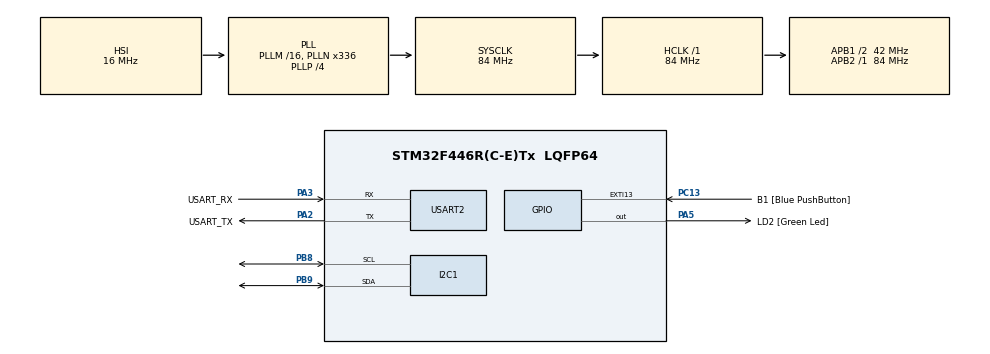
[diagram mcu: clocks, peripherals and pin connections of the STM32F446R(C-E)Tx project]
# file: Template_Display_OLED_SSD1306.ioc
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I2C1.I2C_Mode=I2C_Fast
Mcu.Family=STM32F4
Mcu.Name=STM32F446R(C-E)Tx
Mcu.Package=LQFP64
NVIC.PriorityGroup=NVIC_PRIORITYGROUP_0
PA13.GPIO_Label=TMS
PA13.Mode=Serial_Wire
PA13.Signal=SYS_JTMS-SWDIO
PA14.GPIO_Label=TCK
PA14.Mode=Serial_Wire
PA14.Signal=SYS_JTCK-SWCLK
PA2.GPIO_Label=USART_TX
PA2.Mode=Asynchronous
PA2.Signal=USART2_TX
PA3.GPIO_Label=USART_RX
PA3.Mode=Asynchronous
PA3.Signal=USART2_RX
PA5.GPIO_Label=LD2 [Green Led]
PA5.Signal=GPIO_Output
PB3.GPIO_Label=SWO
PB3.Signal=SYS_JTDO-SWO
PB8.Mode=I2C
PB8.Signal=I2C1_SCL
PB9.Mode=I2C
PB9.Signal=I2C1_SDA
PC13.GPIO_Label=B1 [Blue PushButton]
PC13.GPIO_ModeDefaultEXTI=GPIO_MODE_IT_FALLING
PC13.Signal=GPXTI13
PC14-OSC32_IN.Mode=LSE-External-Oscillator
PC14-OSC32_IN.Signal=RCC_OSC32_IN
PC15-OSC32_OUT.Mode=LSE-External-Oscillator
PC15-OSC32_OUT.Signal=RCC_OSC32_OUT
PH0-OSC_IN.Mode=HSE-External-Oscillator
PH0-OSC_IN.Signal=RCC_OSC_IN
PH1-OSC_OUT.Mode=HSE-External-Oscillator
PH1-OSC_OUT.Signal=RCC_OSC_OUT
ProjectManager.HeapSize=0x200
ProjectManager.StackSize=0x400
ProjectManager.TargetToolchain=STM32CubeIDE
RCC.48MHZClocksFreq_Value=84000000
RCC.AHBFreq_Value=84000000
RCC.APB1CLKDivider=RCC_HCLK_DIV2
RCC.APB1Freq_Value=42000000
RCC.APB1TimFreq_Value=84000000
RCC.APB2Freq_Value=84000000
RCC.APB2TimFreq_Value=84000000
RCC.CortexFreq_Value=84000000
RCC.FLatency-AdvancedSettings=FLASH_LATENCY_2
RCC.HCLKFreq_Value=84000000
RCC.HSE_VALUE=8000000
RCC.HSI_VALUE=16000000
RCC.PLLN=336
RCC.PLLP=RCC_PLLP_DIV4
RCC.SYSCLKFreq_VALUE=84000000
RCC.SYSCLKSource=RCC_SYSCLKSOURCE_PLLCLK
RCC.USBFreq_Value=168000000
RCC.VCOOutputFreq_Value=336000000
USART2.VirtualMode=VM_ASYNC
board=NUCLEO-F446RE

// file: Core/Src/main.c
/* USER CODE BEGIN Header */
/**
  ******************************************************************************
  * @file           : main.c
  * @brief          : Main program body
  ******************************************************************************
  * @attention
  *
  * Copyright (c) 2025 STMicroelectronics.
  * All rights reserved.
  *
  * This software is licensed under terms that can be found in the LICENSE file
  * in the root directory of this software component.
  * If no LICENSE file comes with this software, it is provided AS-IS.
  *
  ******************************************************************************
  */
/* USER CODE END Header */
#include "main.h"

/* USER CODE BEGIN Includes */
#include "ssd1306.h"
#include "ssd1306_fonts.h"
#include "bitmap.h"

/* USER CODE END Includes */

I2C_HandleTypeDef hi2c1;

UART_HandleTypeDef huart2;

void SystemClock_Config(void);
static void MX_GPIO_Init(void);
static void MX_USART2_UART_Init(void);
static void MX_I2C1_Init(void);

int main(void)
{

  /* USER CODE BEGIN 1 */
  char strOled[] = ">>Template OLED<<";
  /* USER CODE END 1 */

  /* MCU Configuration--------------------------------------------------------*/

  /* Reset of all peripherals, Initializes the Flash interface and the Systick. */
  HAL_Init();

  /* Configure the system clock */
  SystemClock_Config();

  /* Initialize all configured peripherals */
  MX_GPIO_Init();
  MX_USART2_UART_Init();
  MX_I2C1_Init();
  /* USER CODE BEGIN 2 */
  ssd1306_Init();
  ssd1306_SetCursor(0, 0);
  ssd1306_Fill(Black);
  ssd1306_WriteString(strOled, Font_7x10, White);
  ssd1306_UpdateScreen();

  HAL_Delay(2000);

  ssd1306_DrawBitmap(38, 10, fantasma_50x50, 50, 50, White);
  ssd1306_UpdateScreen();

  /* USER CODE END 2 */

  /* Infinite loop */
  while (1)
  {

    /* USER CODE BEGIN 3 */
  	ssd1306_InvertRectangle(0, 10, 127, 63);
  	ssd1306_UpdateScreen();
  	HAL_Delay(1000);
  }
  /* USER CODE END 3 */
}

void SystemClock_Config(void)
{
  RCC_OscInitTypeDef RCC_OscInitStruct = {0};
  RCC_ClkInitTypeDef RCC_ClkInitStruct = {0};

  /** Configure the main internal regulator output voltage
  */
  __HAL_RCC_PWR_CLK_ENABLE();
  __HAL_PWR_VOLTAGESCALING_CONFIG(PWR_REGULATOR_VOLTAGE_SCALE3);

  /** Initializes the RCC Oscillators according to the specified parameters
  * in the RCC_OscInitTypeDef structure.
  */
  RCC_OscInitStruct.OscillatorType = RCC_OSCILLATORTYPE_HSI;
  RCC_OscInitStruct.HSIState = RCC_HSI_ON;
  RCC_OscInitStruct.HSICalibrationValue = RCC_HSICALIBRATION_DEFAULT;
  RCC_OscInitStruct.PLL.PLLState = RCC_PLL_ON;
  RCC_OscInitStruct.PLL.PLLSource = RCC_PLLSOURCE_HSI;
  RCC_OscInitStruct.PLL.PLLM = 16;
  RCC_OscInitStruct.PLL.PLLN = 336;
  RCC_OscInitStruct.PLL.PLLP = RCC_PLLP_DIV4;
  RCC_OscInitStruct.PLL.PLLQ = 2;
  RCC_OscInitStruct.PLL.PLLR = 2;
  if (HAL_RCC_OscConfig(&RCC_OscInitStruct) != HAL_OK)
  {
    Error_Handler();
  }

  /** Initializes the CPU, AHB and APB buses clocks
  */
  RCC_ClkInitStruct.ClockType = RCC_CLOCKTYPE_HCLK|RCC_CLOCKTYPE_SYSCLK
                              |RCC_CLOCKTYPE_PCLK1|RCC_CLOCKTYPE_PCLK2;
  RCC_ClkInitStruct.SYSCLKSource = RCC_SYSCLKSOURCE_PLLCLK;
  RCC_ClkInitStruct.AHBCLKDivider = RCC_SYSCLK_DIV1;
  RCC_ClkInitStruct.APB1CLKDivider = RCC_HCLK_DIV2;
  RCC_ClkInitStruct.APB2CLKDivider = RCC_HCLK_DIV1;

  if (HAL_RCC_ClockConfig(&RCC_ClkInitStruct, FLASH_LATENCY_2) != HAL_OK)
  {
    Error_Handler();
  }
}

static void MX_I2C1_Init(void)
{

  hi2c1.Instance = I2C1;
  hi2c1.Init.ClockSpeed = 400000;
  hi2c1.Init.DutyCycle = I2C_DUTYCYCLE_2;
  hi2c1.Init.OwnAddress1 = 0;
  hi2c1.Init.AddressingMode = I2C_ADDRESSINGMODE_7BIT;
  hi2c1.Init.DualAddressMode = I2C_DUALADDRESS_DISABLE;
  hi2c1.Init.OwnAddress2 = 0;
  hi2c1.Init.GeneralCallMode = I2C_GENERALCALL_DISABLE;
  hi2c1.Init.NoStretchMode = I2C_NOSTRETCH_DISABLE;
  if (HAL_I2C_Init(&hi2c1) != HAL_OK)
  {
    Error_Handler();
  }

}

static void MX_USART2_UART_Init(void)
{

  huart2.Instance = USART2;
  huart2.Init.BaudRate = 115200;
  huart2.Init.WordLength = UART_WORDLENGTH_8B;
  huart2.Init.StopBits = UART_STOPBITS_1;
  huart2.Init.Parity = UART_PARITY_NONE;
  huart2.Init.Mode = UART_MODE_TX_RX;
  huart2.Init.HwFlowCtl = UART_HWCONTROL_NONE;
  huart2.Init.OverSampling = UART_OVERSAMPLING_16;
  if (HAL_UART_Init(&huart2) != HAL_OK)
  {
    Error_Handler();
  }

}

static void MX_GPIO_Init(void)
{
  GPIO_InitTypeDef GPIO_InitStruct = {0};

  /* GPIO Ports Clock Enable */
  __HAL_RCC_GPIOC_CLK_ENABLE();
  __HAL_RCC_GPIOH_CLK_ENABLE();
  __HAL_RCC_GPIOA_CLK_ENABLE();
  __HAL_RCC_GPIOB_CLK_ENABLE();

  /*Configure GPIO pin Output Level */
  HAL_GPIO_WritePin(LD2_GPIO_Port, LD2_Pin, GPIO_PIN_RESET);

  /*Configure GPIO pin : B1_Pin */
  GPIO_InitStruct.Pin = B1_Pin;
  GPIO_InitStruct.Mode = GPIO_MODE_IT_FALLING;
  GPIO_InitStruct.Pull = GPIO_NOPULL;
  HAL_GPIO_Init(B1_GPIO_Port, &GPIO_InitStruct);

  /*Configure GPIO pin : LD2_Pin */
  GPIO_InitStruct.Pin = LD2_Pin;
  GPIO_InitStruct.Mode = GPIO_MODE_OUTPUT_PP;
  GPIO_InitStruct.Pull = GPIO_NOPULL;
  GPIO_InitStruct.Speed = GPIO_SPEED_FREQ_LOW;
  HAL_GPIO_Init(LD2_GPIO_Port, &GPIO_InitStruct);

}

void Error_Handler(void)
{
  __disable_irq();
  while (1)
  {
  }
}
